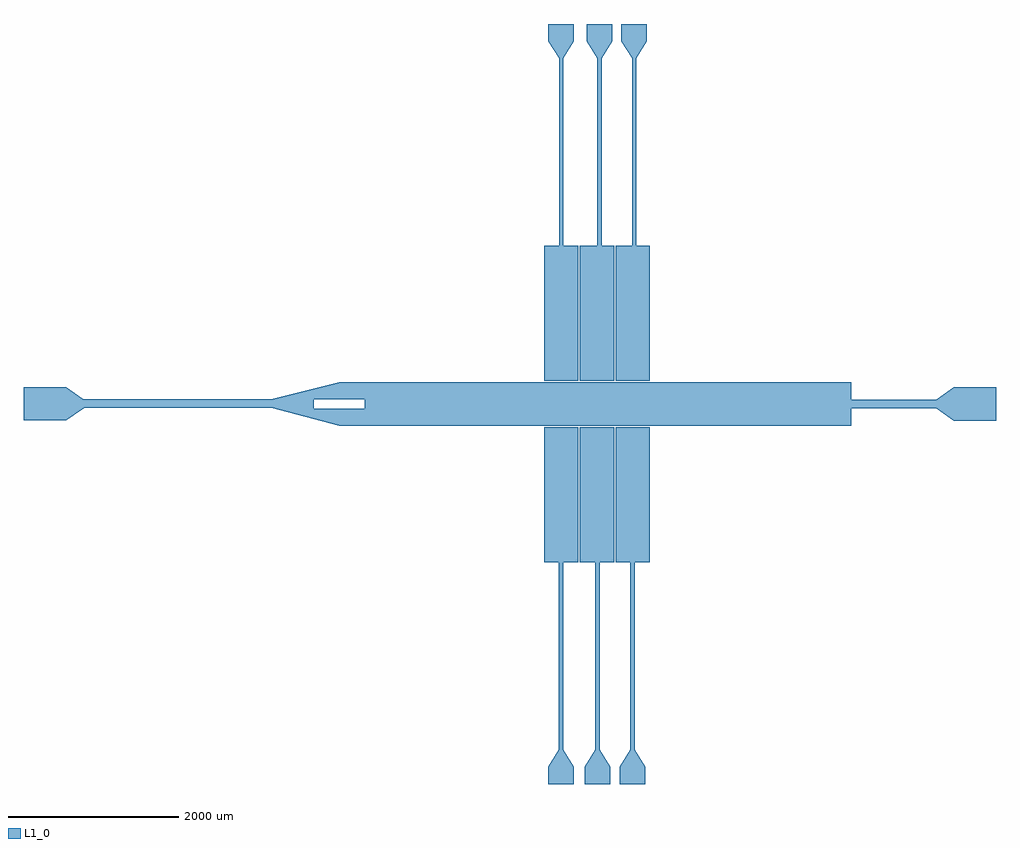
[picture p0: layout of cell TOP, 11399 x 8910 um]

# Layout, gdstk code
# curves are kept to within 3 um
import gdstk
lib = gdstk.Library(unit=1e-6, precision=1e-09)
def P(c, l, *ps):  # polygons
    for p in ps: c.add(gdstk.Polygon(p, *l))
L1_0 = (1, 0)

top = lib.new_cell('TOP')
P(top, L1_0, [(4200,-250),(4000,-105),(-2700,-105),(-2700,-5),(4000,-5),(4200,140),(4700,140),(4700,-250)],
  [(-3000,-310),(-3800,-100),(-5999,-100),(-6199,-247),(-6699,-247),(-6699,143),(-6199,143),(-6000,-1.275),(-3800,0),(-3000,200),(3000,200),(3000,0),(-3300,0),(-3300,-110),(3000,-110),(3000,-310)],
  [(-600,215),(-600,1800),(-425,1800),(-425,4000),(-550,4200),(-550,4400),(-250,4400),(-250,4200),(-375,4000),(-375,1800),(-200,1800),(-200,215)],
  [(-180,215),(-180,1800),(24,1800),(24,4000),(-101,4200),(-101,4400),(199,4400),(199,4200),(74,4000),(74,1800),(220,1800),(220,215)],
  [(238,215),(238,1800),(431,1800),(431,4000),(306,4200),(306,4400),(606,4400),(606,4200),(481,4000),(481,1800),(638,1800),(638,215)],
  [(-551,-4510),(-551,-4310),(-426,-4110),(-426,-1910),(-600,-1910),(-600,-325),(-200,-325),(-200,-1910),(-376,-1910),(-376,-4110),(-251,-4310),(-251,-4510)],
  [(-125,-4510),(-125,-4310),(0,-4110),(0,-1910),(-180,-1910),(-180,-325),(220,-325),(220,-1910),(50,-1910),(50,-4110),(175,-4310),(175,-4510)],
  [(288,-4510),(288,-4310),(413,-4110),(413,-1910),(238,-1910),(238,-325),(638,-325),(638,-1910),(463,-1910),(463,-4110),(588,-4310),(588,-4510)])

lib.write_gds('TOP.gds')
